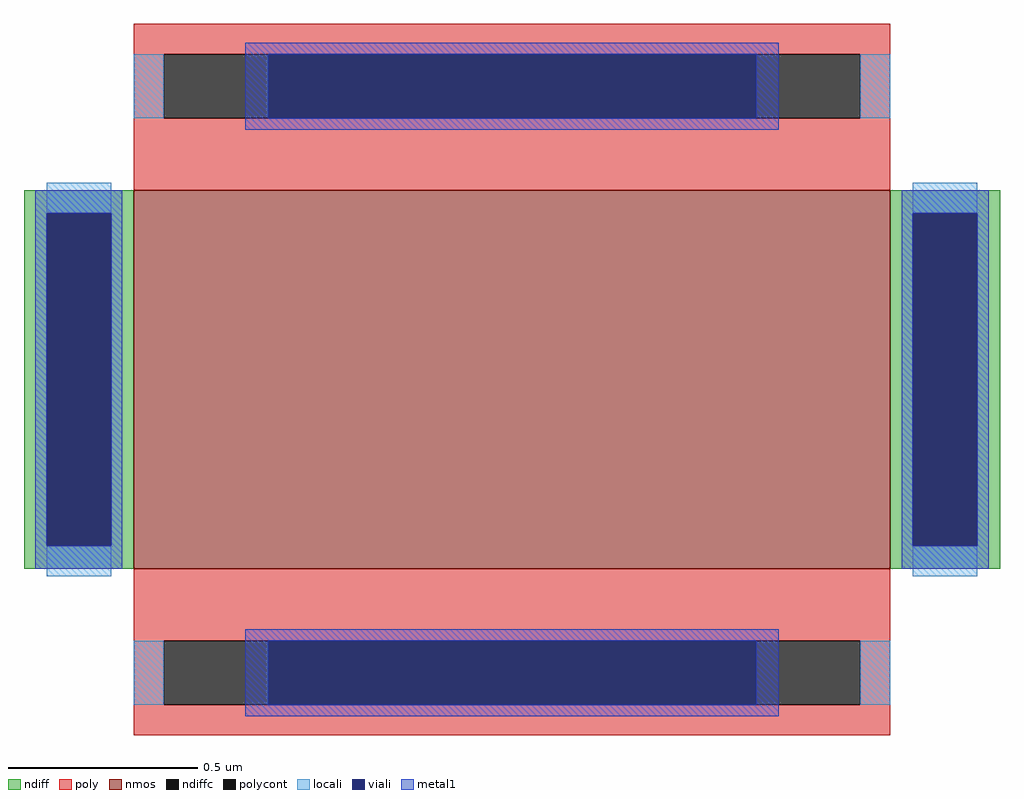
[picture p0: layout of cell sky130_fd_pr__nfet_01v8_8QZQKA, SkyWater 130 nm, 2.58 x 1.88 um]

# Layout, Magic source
magic
tech sky130A
magscale 1 2
<< nmos >>
rect -200 -100 200 100
<< ndiff >>
rect -258 88 -200 100
rect -258 -88 -246 88
rect -212 -88 -200 88
rect -258 -100 -200 -88
rect 200 88 258 100
rect 200 -88 212 88
rect 246 -88 258 88
rect 200 -100 258 -88
<< ndiffc >>
rect -246 -88 -212 88
rect 212 -88 246 88
<< poly >>
rect -200 172 200 188
rect -200 138 -184 172
rect 184 138 200 172
rect -200 100 200 138
rect -200 -138 200 -100
rect -200 -172 -184 -138
rect 184 -172 200 -138
rect -200 -188 200 -172
<< polycont >>
rect -184 138 184 172
rect -184 -172 184 -138
<< locali >>
rect -200 138 -184 172
rect 184 138 200 172
rect -246 88 -212 104
rect -246 -104 -212 -88
rect 212 88 246 104
rect 212 -104 246 -88
rect -200 -172 -184 -138
rect 184 -172 200 -138
<< viali >>
rect -129 138 129 172
rect -246 -88 -212 88
rect 212 -88 246 88
rect -129 -172 129 -138
<< metal1 >>
rect -141 172 141 178
rect -141 138 -129 172
rect 129 138 141 172
rect -141 132 141 138
rect -252 88 -206 100
rect -252 -88 -246 88
rect -212 -88 -206 88
rect -252 -100 -206 -88
rect 206 88 252 100
rect 206 -88 212 88
rect 246 -88 252 88
rect 206 -100 252 -88
rect -141 -138 141 -132
rect -141 -172 -129 -138
rect 129 -172 141 -138
rect -141 -178 141 -172
<< properties >>
string gencell sky130_fd_pr__nfet_01v8
string library sky130
string parameters w 1 l 2 m 1 nf 1 diffcov 100 polycov 100 guard 0 glc 1 grc 1 gtc 1 gbc 1 tbcov 100 rlcov 100 topc 1 botc 1 poverlap 1 doverlap 0 lmin 0.15 wmin 0.42 compatible {sky130_fd_pr__nfet_01v8 sky130_fd_pr__nfet_01v8_lvt  sky130_fd_bs_flash__special_sonosfet_star  sky130_fd_pr__nfet_g5v0d10v5 sky130_fd_pr__nfet_05v0_nvt  sky130_fd_pr__nfet_03v3_nvt} full_metal 1 viasrc 100 viadrn 100 viagate 70 viagb 0 viagr 0 viagl 0 viagt 0
<< end >>
